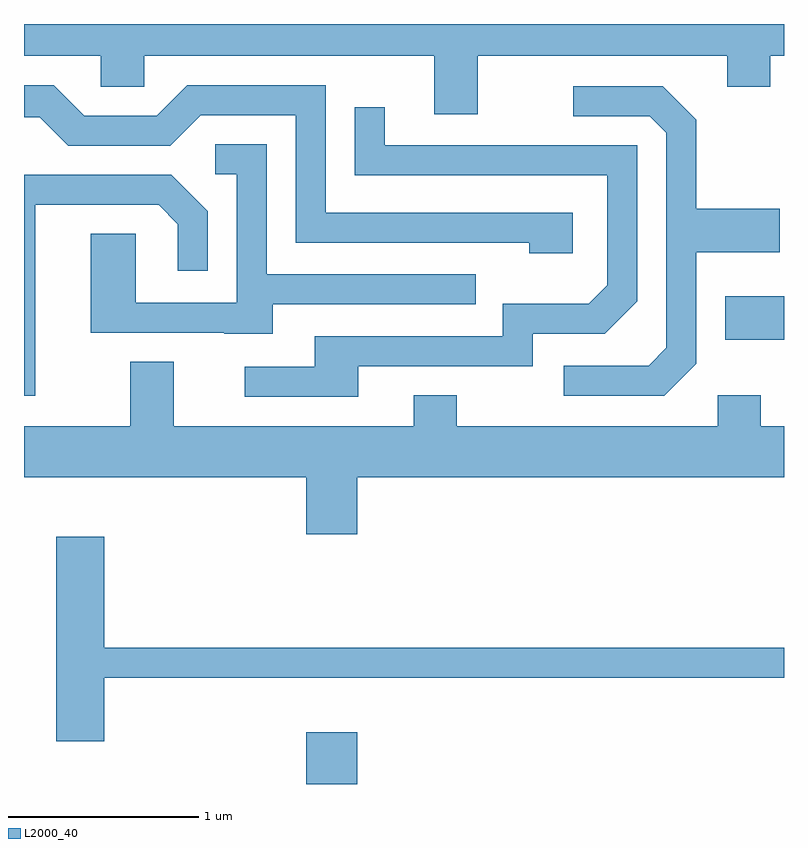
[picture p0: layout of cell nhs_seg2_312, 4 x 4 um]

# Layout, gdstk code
import gdstk
lib = gdstk.Library(unit=1e-6, precision=1e-09)
def R(c, l, rs):  # rectangles x0, y0, x1, y1
    for r in rs: c.add(gdstk.rectangle(r[:2], r[2:], *l))
def P(c, l, *ps):  # polygons
    for p in ps: c.add(gdstk.Polygon(p, *l))
L2000_40 = (2000, 40)

nhs_seg2_312 = lib.new_cell('nhs_seg2_312')
R(nhs_seg2_312, L2000_40, [(195.096,1057.802,195.364,1058.074), (197.301,1060.141,197.611,1060.369)])
P(nhs_seg2_312, L2000_40, [(195.999,1061.636),(197.311,1061.636),(197.311,1061.471),(197.539,1061.471),(197.539,1061.636),(197.611,1061.636),(197.611,1061.802),(193.611,1061.802),(193.611,1061.636),(194.016,1061.636),(194.016,1061.471),(194.244,1061.471),(194.244,1061.636),(195.771,1061.636),(195.771,1061.326),(195.999,1061.326)],
  [(196.499,1060.809),(195.199,1060.809),(195.199,1061.479),(194.469,1061.479),(194.309,1061.319),(193.927,1061.319),(193.767,1061.479),(193.611,1061.479),(193.611,1061.311),(193.694,1061.311),(193.844,1061.161),(194.382,1061.161),(194.542,1061.321),(195.041,1061.321),(195.041,1060.651),(196.271,1060.651),(196.271,1060.596),(196.499,1060.596)],
  [(197.149,1060.014),(197.149,1060.601),(197.589,1060.601),(197.589,1060.829),(197.149,1060.829),(197.149,1061.297),(196.972,1061.474),(196.503,1061.474),(196.503,1061.316),(196.904,1061.316),(196.991,1061.229),(196.991,1060.097),(196.899,1060.004),(196.453,1060.004),(196.453,1059.846),(196.982,1059.846)],
  [(195.369,1060.001),(196.289,1060.001),(196.289,1060.171),(196.667,1060.171),(196.839,1060.344),(196.839,1061.164),(195.509,1061.164),(195.509,1061.363),(195.351,1061.363),(195.351,1061.006),(196.681,1061.006),(196.681,1060.427),(196.584,1060.329),(196.131,1060.329),(196.131,1060.159),(195.141,1060.159),(195.141,1059.999),(194.773,1059.999),(194.773,1059.841),(195.369,1059.841)],
  [(194.919,1060.326),(195.988,1060.326),(195.988,1060.484),(194.889,1060.484),(194.889,1061.169),(194.618,1061.169),(194.618,1061.011),(194.731,1061.011),(194.731,1060.334),(194.199,1060.334),(194.199,1060.699),(193.961,1060.699),(193.961,1060.176),(194.665,1060.176),(194.665,1060.171),(194.919,1060.171)],
  [(193.669,1060.851),(194.319,1060.851),(194.421,1060.749),(194.421,1060.503),(194.579,1060.503),(194.579,1060.817),(194.387,1061.009),(193.611,1061.009),(193.611,1059.846),(193.669,1059.846)],
  [(195.364,1059.416),(197.611,1059.416),(197.611,1059.684),(197.489,1059.684),(197.489,1059.849),(197.261,1059.849),(197.261,1059.684),(195.889,1059.684),(195.889,1059.849),(195.661,1059.849),(195.661,1059.684),(194.399,1059.684),(194.399,1060.024),(194.171,1060.024),(194.171,1059.684),(193.611,1059.684),(193.611,1059.416),(195.096,1059.416),(195.096,1059.116),(195.364,1059.116)],
  [(194.034,1058.361),(197.611,1058.361),(197.611,1058.519),(194.034,1058.519),(194.034,1059.104),(193.781,1059.104),(193.781,1058.026),(194.034,1058.026)])

lib.write_gds('nhs_seg2_312.gds')
